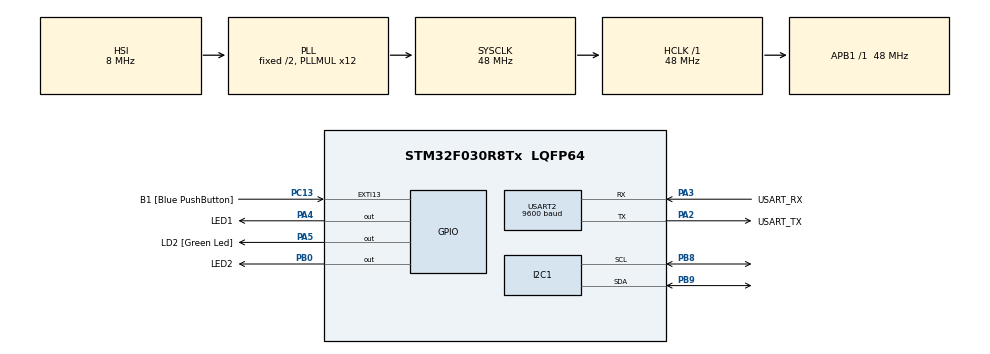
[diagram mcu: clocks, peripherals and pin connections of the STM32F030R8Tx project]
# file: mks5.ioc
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Dma.Request0=USART2_RX
Dma.USART2_RX.0.Direction=DMA_PERIPH_TO_MEMORY
Dma.USART2_RX.0.Instance=DMA1_Channel5
Dma.USART2_RX.0.MemDataAlignment=DMA_MDATAALIGN_BYTE
Dma.USART2_RX.0.MemInc=DMA_MINC_ENABLE
Dma.USART2_RX.0.Mode=DMA_CIRCULAR
Dma.USART2_RX.0.PeriphDataAlignment=DMA_PDATAALIGN_BYTE
Dma.USART2_RX.0.PeriphInc=DMA_PINC_DISABLE
Dma.USART2_RX.0.Priority=DMA_PRIORITY_LOW
I2C1.Timing=0x00201D2B
Mcu.Family=STM32F0
Mcu.Name=STM32F030R8Tx
Mcu.Package=LQFP64
NVIC.DMA1_Channel4_5_IRQn=true\:0\:0\:false\:false\:true\:false\:true\:true
PA13.GPIO_Label=TMS
PA13.Mode=Serial_Wire
PA13.Signal=SYS_SWDIO
PA14.GPIO_Label=TCK
PA14.Mode=Serial_Wire
PA14.Signal=SYS_SWCLK
PA2.GPIO_Label=USART_TX
PA2.GPIO_Mode=GPIO_MODE_AF_PP
PA2.GPIO_PuPd=GPIO_NOPULL
PA2.GPIO_Speed=GPIO_SPEED_FREQ_LOW
PA2.Mode=Asynchronous
PA2.Signal=USART2_TX
PA3.GPIO_Label=USART_RX
PA3.GPIO_Mode=GPIO_MODE_AF_PP
PA3.GPIO_PuPd=GPIO_NOPULL
PA3.GPIO_Speed=GPIO_SPEED_FREQ_LOW
PA3.Mode=Asynchronous
PA3.Signal=USART2_RX
PA4.GPIO_Label=LED1
PA4.Signal=GPIO_Output
PA5.GPIO_Label=LD2 [Green Led]
PA5.GPIO_Mode=GPIO_MODE_OUTPUT_PP
PA5.GPIO_PuPd=GPIO_NOPULL
PA5.GPIO_Speed=GPIO_SPEED_FREQ_LOW
PA5.Signal=GPIO_Output
PB0.GPIO_Label=LED2
PB0.Signal=GPIO_Output
PB8.Mode=I2C
PB8.Signal=I2C1_SCL
PB9.Mode=I2C
PB9.Signal=I2C1_SDA
PC13.GPIO_Label=B1 [Blue PushButton]
PC13.GPIO_ModeDefaultEXTI=GPIO_MODE_IT_FALLING
PC13.Signal=GPXTI13
PC14-OSC32_IN.Mode=LSE-External-Oscillator
PC14-OSC32_IN.Signal=RCC_OSC32_IN
PC15-OSC32_OUT.Mode=LSE-External-Oscillator
PC15-OSC32_OUT.Signal=RCC_OSC32_OUT
PF0-OSC_IN.Mode=HSE-External-Clock-Source
PF0-OSC_IN.Signal=RCC_OSC_IN
PF1-OSC_OUT.Signal=RCC_OSC_OUT
ProjectManager.HeapSize=0x200
ProjectManager.StackSize=0x400
ProjectManager.TargetToolchain=STM32CubeIDE
RCC.AHBFreq_Value=48000000
RCC.APB1Freq_Value=48000000
RCC.APB1TimFreq_Value=48000000
RCC.HCLKFreq_Value=48000000
RCC.PLLMUL=RCC_PLL_MUL12
RCC.SYSCLKFreq_VALUE=48000000
RCC.SYSCLKSource=RCC_SYSCLKSOURCE_PLLCLK
USART2.BaudRate=9600
USART2.VirtualMode-Asynchronous=VM_ASYNC
board=NUCLEO-F030R8

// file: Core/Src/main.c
/* USER CODE BEGIN Header */
/**
  ******************************************************************************
  * @file           : main.c
  * @brief          : Main program body
  ******************************************************************************
  * @attention
  *
  * Copyright (c) 2025 STMicroelectronics.
  * All rights reserved.
  *
  * This software is licensed under terms that can be found in the LICENSE file
  * in the root directory of this software component.
  * If no LICENSE file comes with this software, it is provided AS-IS.
  *
  ******************************************************************************
  */
/* USER CODE END Header */
#include "main.h"

/* USER CODE BEGIN Includes */
#include <stdio.h>
#include <string.h>
#include <stdlib.h>
/* USER CODE END Includes */

/* USER CODE BEGIN PD */
#define RX_BUFFER_LEN 64
#define uart_rx_write_ptr (RX_BUFFER_LEN - hdma_usart2_rx.Instance->CNDTR)
#define CMD_BUFFER_LEN 256

#define EEPROM_ADDR 0xA0
/* USER CODE END PD */

I2C_HandleTypeDef hi2c1;

UART_HandleTypeDef huart2;
DMA_HandleTypeDef hdma_usart2_rx;

/* USER CODE BEGIN PV */
static uint8_t uart_rx_buf[RX_BUFFER_LEN];
static volatile uint16_t uart_rx_read_ptr = 0;
/* USER CODE END PV */

void SystemClock_Config(void);
static void MX_GPIO_Init(void);
static void MX_DMA_Init(void);
static void MX_USART2_UART_Init(void);
static void MX_I2C1_Init(void);

/* USER CODE BEGIN 0 */
int _write(int file, char const *buf, int n)
{
	/* stdout redirection to UART2 */
	HAL_UART_Transmit(&huart2, (uint8_t*)(buf), n, HAL_MAX_DELAY);
	return n;
}

static void uart_process_command(char *cmd)
{
	printf("RX: '%s'\r\n", cmd);

	char *token;
	token = strtok(cmd, " ");
	uint8_t LED1_stat;
	uint8_t LED2_stat;

	if (strcasecmp(token, "HELLO") == 0) {
		printf("Communication OK\n\r");
	}
	else if (strcasecmp(token, "LED1") == 0) {
		token = strtok(NULL, " ");
		if (strcasecmp(token, "ON") == 0) {
			HAL_GPIO_WritePin(LED1_GPIO_Port, LED1_Pin, 1);
		} else if (strcasecmp(token, "OFF") == 0) {
			HAL_GPIO_WritePin(LED1_GPIO_Port, LED1_Pin, 0);
		}
	}
	else if (strcasecmp(token, "LED2") == 0) {
		token = strtok(NULL, " ");
		if (strcasecmp(token, "ON") == 0) {
			HAL_GPIO_WritePin(LED2_GPIO_Port, LED2_Pin, 1);
		} else if (strcasecmp(token, "OFF") == 0) {
			HAL_GPIO_WritePin(LED2_GPIO_Port, LED2_Pin, 0);
		}
	}
	else if (strcasecmp(token, "STATUS") == 0) {
		token = strtok(NULL, " ");
		LED1_stat = HAL_GPIO_ReadPin(LED1_GPIO_Port, LED1_Pin);
		LED2_stat = HAL_GPIO_ReadPin(LED2_GPIO_Port, LED2_Pin);
		printf("LED1 status: '%d'\r\n", LED1_stat);
		printf("LED2 status: '%d'\r\n", LED2_stat);
	}
	else if (strcasecmp(token, "READ") == 0) {
		token = strtok(NULL, " ");
		uint8_t addr = atoi(token);

		uint8_t value = 0;
		HAL_I2C_Mem_Read(&hi2c1, EEPROM_ADDR, addr, I2C_MEMADD_SIZE_16BIT, &value, 1, 1000);

		printf("Addr 0x%04X = 0x%02X\r\n", addr, value);
	}
	else if (strcasecmp(token, "WRITE") == 0) {
		token = strtok(NULL, " ");
		uint8_t addr = atoi(token);

		token = strtok(NULL, " ");
		uint8_t value = atoi(token);

		HAL_I2C_Mem_Write(&hi2c1, EEPROM_ADDR, addr, I2C_MEMADD_SIZE_16BIT, &value, 1, 1000);

		while(HAL_I2C_IsDeviceReady(&hi2c1, EEPROM_ADDR, 300, 1000) == HAL_TIMEOUT) {}

		printf("OK\n\r");
	}
	else if (stscasecmp(token, "DUMP") == 0) {
		uint8_t mem = 0;
		for(int i_add = 0; i <= 16, i++) {

			HAL_I2C_Mem_Read(&hi2c1, EEPROM_ADDR, i_add, I2C_MEMADD_SIZE_16BIT, &mem, 1, 1000);
			printf("%d ", mem);
		}
	}
	/*
	else if (strtok(token, "DUMP"))
	*/
	else goto error;

	if(0) {
error:
		printf("Error\n\r");
	}
}

static void uart_byte_available(uint8_t c)
{
	static uint16_t cnt;
	static char data[CMD_BUFFER_LEN];
	if (cnt < CMD_BUFFER_LEN && c >= 32 && c <= 126) data[cnt++] = c;
	if ((c == '\n' || c == '\r') && cnt > 0) {
		data[cnt] = '\0';
		uart_process_command(data);
		cnt = 0;
	}
}
/* USER CODE END 0 */

int main(void)
{

  /* MCU Configuration--------------------------------------------------------*/

  /* Reset of all peripherals, Initializes the Flash interface and the Systick. */
  HAL_Init();

  /* Configure the system clock */
  SystemClock_Config();

  /* Initialize all configured peripherals */
  MX_GPIO_Init();
  MX_DMA_Init();
  MX_USART2_UART_Init();
  MX_I2C1_Init();
  /* USER CODE BEGIN 2 */
  HAL_UART_Receive_DMA(&huart2, uart_rx_buf, RX_BUFFER_LEN);

  /* USER CODE END 2 */

  /* Infinite loop */
  /* USER CODE BEGIN WHILE */
  while (1)
  {

	  /*
	  uint8_t c;
	  HAL_UART_Receive(&huart2, &c, 1, HAL_MAX_DELAY);
	  HAL_Delay(100);
	  HAL_UART_Transmit(&huart2, &c, 1, HAL_MAX_DELAY);
	  */

	  while (uart_rx_read_ptr != uart_rx_write_ptr) {

		  uint8_t c;
		  uint8_t b = uart_rx_buf[uart_rx_read_ptr];
		  HAL_UART_Transmit(&huart2, &b, 1, HAL_MAX_DELAY);
		  // increase read pointer
		  if (++uart_rx_read_ptr >= RX_BUFFER_LEN) uart_rx_read_ptr = 0;
		  // process every received byte with the RX state machine
		  uart_byte_available(b);
	  }

    /* USER CODE END WHILE */

  }
}

void SystemClock_Config(void)
{
  RCC_OscInitTypeDef RCC_OscInitStruct = {0};
  RCC_ClkInitTypeDef RCC_ClkInitStruct = {0};
  RCC_PeriphCLKInitTypeDef PeriphClkInit = {0};

  /** Initializes the RCC Oscillators according to the specified parameters
  * in the RCC_OscInitTypeDef structure.
  */
  RCC_OscInitStruct.OscillatorType = RCC_OSCILLATORTYPE_HSI;
  RCC_OscInitStruct.HSIState = RCC_HSI_ON;
  RCC_OscInitStruct.HSICalibrationValue = RCC_HSICALIBRATION_DEFAULT;
  RCC_OscInitStruct.PLL.PLLState = RCC_PLL_ON;
  RCC_OscInitStruct.PLL.PLLSource = RCC_PLLSOURCE_HSI;
  RCC_OscInitStruct.PLL.PLLMUL = RCC_PLL_MUL12;
  RCC_OscInitStruct.PLL.PREDIV = RCC_PREDIV_DIV1;
  if (HAL_RCC_OscConfig(&RCC_OscInitStruct) != HAL_OK)
  {
    Error_Handler();
  }

  /** Initializes the CPU, AHB and APB buses clocks
  */
  RCC_ClkInitStruct.ClockType = RCC_CLOCKTYPE_HCLK|RCC_CLOCKTYPE_SYSCLK
                              |RCC_CLOCKTYPE_PCLK1;
  RCC_ClkInitStruct.SYSCLKSource = RCC_SYSCLKSOURCE_PLLCLK;
  RCC_ClkInitStruct.AHBCLKDivider = RCC_SYSCLK_DIV1;
  RCC_ClkInitStruct.APB1CLKDivider = RCC_HCLK_DIV1;

  if (HAL_RCC_ClockConfig(&RCC_ClkInitStruct, FLASH_LATENCY_1) != HAL_OK)
  {
    Error_Handler();
  }
  PeriphClkInit.PeriphClockSelection = RCC_PERIPHCLK_I2C1;
  PeriphClkInit.I2c1ClockSelection = RCC_I2C1CLKSOURCE_HSI;
  if (HAL_RCCEx_PeriphCLKConfig(&PeriphClkInit) != HAL_OK)
  {
    Error_Handler();
  }
}

static void MX_I2C1_Init(void)
{

  hi2c1.Instance = I2C1;
  hi2c1.Init.Timing = 0x00201D2B;
  hi2c1.Init.OwnAddress1 = 0;
  hi2c1.Init.AddressingMode = I2C_ADDRESSINGMODE_7BIT;
  hi2c1.Init.DualAddressMode = I2C_DUALADDRESS_DISABLE;
  hi2c1.Init.OwnAddress2 = 0;
  hi2c1.Init.OwnAddress2Masks = I2C_OA2_NOMASK;
  hi2c1.Init.GeneralCallMode = I2C_GENERALCALL_DISABLE;
  hi2c1.Init.NoStretchMode = I2C_NOSTRETCH_DISABLE;
  if (HAL_I2C_Init(&hi2c1) != HAL_OK)
  {
    Error_Handler();
  }

  /** Configure Analogue filter
  */
  if (HAL_I2CEx_ConfigAnalogFilter(&hi2c1, I2C_ANALOGFILTER_ENABLE) != HAL_OK)
  {
    Error_Handler();
  }

  /** Configure Digital filter
  */
  if (HAL_I2CEx_ConfigDigitalFilter(&hi2c1, 0) != HAL_OK)
  {
    Error_Handler();
  }

}

static void MX_USART2_UART_Init(void)
{

  huart2.Instance = USART2;
  huart2.Init.BaudRate = 9600;
  huart2.Init.WordLength = UART_WORDLENGTH_8B;
  huart2.Init.StopBits = UART_STOPBITS_1;
  huart2.Init.Parity = UART_PARITY_NONE;
  huart2.Init.Mode = UART_MODE_TX_RX;
  huart2.Init.HwFlowCtl = UART_HWCONTROL_NONE;
  huart2.Init.OverSampling = UART_OVERSAMPLING_16;
  huart2.Init.OneBitSampling = UART_ONE_BIT_SAMPLE_DISABLE;
  huart2.AdvancedInit.AdvFeatureInit = UART_ADVFEATURE_NO_INIT;
  if (HAL_UART_Init(&huart2) != HAL_OK)
  {
    Error_Handler();
  }

}

static void MX_DMA_Init(void)
{

  /* DMA controller clock enable */
  __HAL_RCC_DMA1_CLK_ENABLE();

  /* DMA interrupt init */
  /* DMA1_Channel4_5_IRQn interrupt configuration */
  HAL_NVIC_SetPriority(DMA1_Channel4_5_IRQn, 0, 0);
  HAL_NVIC_EnableIRQ(DMA1_Channel4_5_IRQn);

}

static void MX_GPIO_Init(void)
{
  GPIO_InitTypeDef GPIO_InitStruct = {0};

  /* GPIO Ports Clock Enable */
  __HAL_RCC_GPIOC_CLK_ENABLE();
  __HAL_RCC_GPIOF_CLK_ENABLE();
  __HAL_RCC_GPIOA_CLK_ENABLE();
  __HAL_RCC_GPIOB_CLK_ENABLE();

  /*Configure GPIO pin Output Level */
  HAL_GPIO_WritePin(GPIOA, LED1_Pin|LD2_Pin, GPIO_PIN_RESET);

  /*Configure GPIO pin Output Level */
  HAL_GPIO_WritePin(LED2_GPIO_Port, LED2_Pin, GPIO_PIN_RESET);

  /*Configure GPIO pin : B1_Pin */
  GPIO_InitStruct.Pin = B1_Pin;
  GPIO_InitStruct.Mode = GPIO_MODE_IT_FALLING;
  GPIO_InitStruct.Pull = GPIO_NOPULL;
  HAL_GPIO_Init(B1_GPIO_Port, &GPIO_InitStruct);

  /*Configure GPIO pins : LED1_Pin LD2_Pin */
  GPIO_InitStruct.Pin = LED1_Pin|LD2_Pin;
  GPIO_InitStruct.Mode = GPIO_MODE_OUTPUT_PP;
  GPIO_InitStruct.Pull = GPIO_NOPULL;
  GPIO_InitStruct.Speed = GPIO_SPEED_FREQ_LOW;
  HAL_GPIO_Init(GPIOA, &GPIO_InitStruct);

  /*Configure GPIO pin : LED2_Pin */
  GPIO_InitStruct.Pin = LED2_Pin;
  GPIO_InitStruct.Mode = GPIO_MODE_OUTPUT_PP;
  GPIO_InitStruct.Pull = GPIO_NOPULL;
  GPIO_InitStruct.Speed = GPIO_SPEED_FREQ_LOW;
  HAL_GPIO_Init(LED2_GPIO_Port, &GPIO_InitStruct);

}

void Error_Handler(void)
{
  __disable_irq();
  while (1)
  {
  }
}
